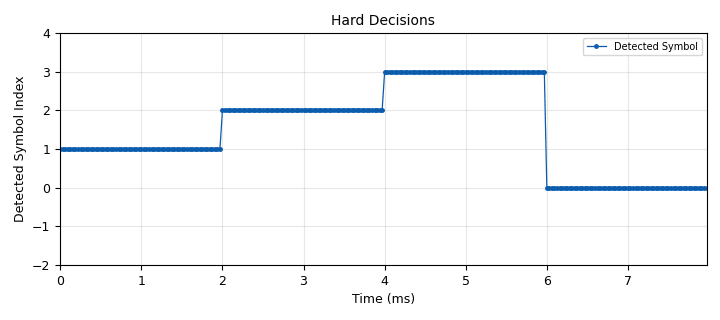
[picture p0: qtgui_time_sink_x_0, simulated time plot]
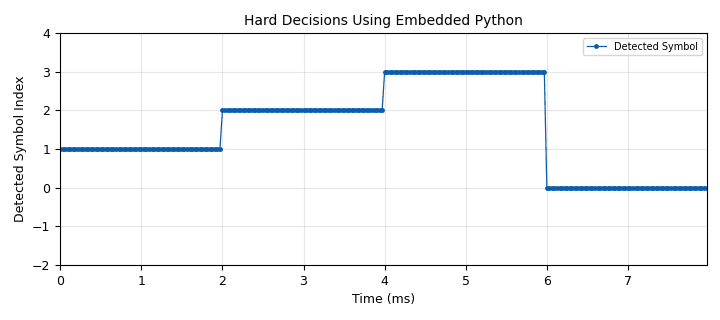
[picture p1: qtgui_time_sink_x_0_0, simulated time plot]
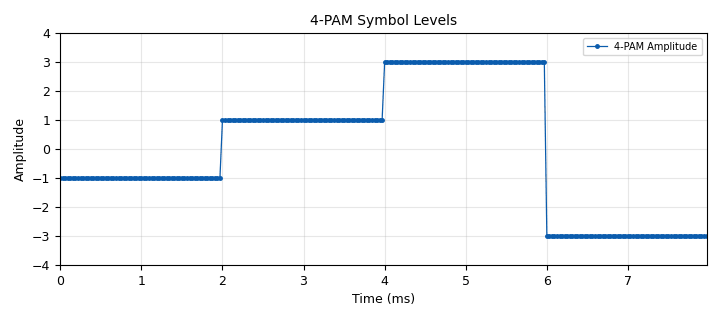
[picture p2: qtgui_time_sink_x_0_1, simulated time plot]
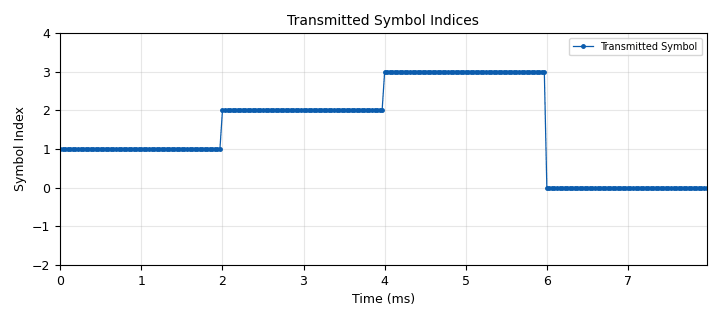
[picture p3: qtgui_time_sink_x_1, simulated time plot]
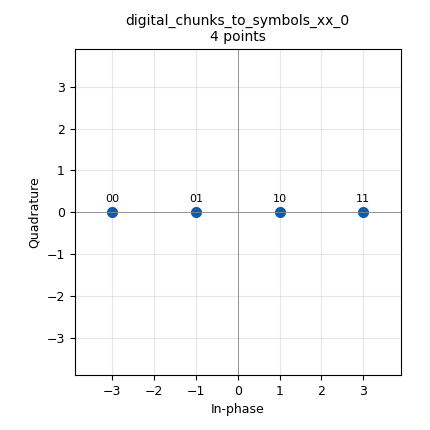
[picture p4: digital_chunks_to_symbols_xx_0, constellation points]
options:
  parameters:
    author: Dhrubjun
    generate_options: qt_gui
    id: exp5
    output_language: python
    title: Hard Decisions in 4-PAM
  states: {}

blocks:
- name: bit_rate
  id: variable
  parameters:
    value: '1000'
  states: {}
- name: bits_per_symbol
  id: variable
  parameters:
    value: '2'
  states: {}
- name: samp_rate
  id: variable
  parameters:
    value: '32000'
  states: {}
- name: samples_per_symbol
  id: variable
  parameters:
    value: int(samp_rate / symbol_rate)
  states: {}
- name: symbol_rate
  id: variable
  parameters:
    value: bit_rate / bits_per_symbol
  states: {}
- name: blocks_add_const_vxx_0
  id: blocks_add_const_vxx
  parameters:
    const: '2'
    type: float
  states: {}
- name: blocks_add_const_vxx_0_0
  id: blocks_add_const_vxx
  parameters:
    const: '-2'
    type: float
  states: {}
- name: blocks_add_xx_0
  id: blocks_add_xx
  parameters:
    num_inputs: '3'
    type: float
  states: {}
- name: blocks_repack_bits_bb_0_0
  id: blocks_repack_bits_bb
  parameters:
    endianness: gr.GR_MSB_FIRST
    k: '1'
    l: '2'
  states: {}
- name: blocks_repeat_0_0
  id: blocks_repeat
  parameters:
    interp: samples_per_symbol
    type: float
  states: {}
- name: blocks_repeat_0_0_0
  id: blocks_repeat
  parameters:
    interp: samples_per_symbol
    type: float
  states: {}
- name: blocks_repeat_0_0_1
  id: blocks_repeat
  parameters:
    interp: samples_per_symbol
    type: float
  states: {}
- name: blocks_repeat_0_0_1_0
  id: blocks_repeat
  parameters:
    interp: samples_per_symbol
    type: float
  states: {}
- name: blocks_throttle2_0
  id: blocks_throttle2
  parameters:
    samples_per_second: samp_rate
    type: byte
  states: {}
- name: blocks_uchar_to_float_0_0
  id: blocks_uchar_to_float
  parameters: {}
  states: {}
- name: blocks_uchar_to_float_0_0_0
  id: blocks_uchar_to_float
  parameters: {}
  states: {}
- name: blocks_uchar_to_float_0_0_0_0
  id: blocks_uchar_to_float
  parameters: {}
  states: {}
- name: blocks_uchar_to_float_0_0_0_1
  id: blocks_uchar_to_float
  parameters: {}
  states: {}
- name: blocks_uchar_to_float_0_0_1
  id: blocks_uchar_to_float
  parameters: {}
  states: {}
- name: blocks_vector_source_x_0
  id: blocks_vector_source_x
  parameters:
    repeat: 'True'
    type: byte
    vector: (0,0,0,1,1,0,1,1)
  states: {}
- name: digital_binary_slicer_fb_0
  id: digital_binary_slicer_fb
  parameters: {}
  states: {}
- name: digital_binary_slicer_fb_0_0
  id: digital_binary_slicer_fb
  parameters: {}
  states: {}
- name: digital_binary_slicer_fb_0_1
  id: digital_binary_slicer_fb
  parameters: {}
  states: {}
- name: digital_chunks_to_symbols_xx_0
  id: digital_chunks_to_symbols_xx
  parameters:
    dimension: '1'
    in_type: byte
    out_type: float
    symbol_table: '[-3, -1, 1, 3]'
  states: {}
- name: epy_block_0
  id: epy_block
  parameters:
    _source_code: |-
      import numpy as np
      from gnuradio import gr


      class blk(gr.sync_block):

          def __init__(self):
              gr.sync_block.__init__(
                  self,
                  name='4-PAM Hard Decision',
                  in_sig=[np.float32],
                  out_sig=[np.uint8]
              )

          def work(self, input_items, output_items):
              x = input_items[0]
              y = output_items[0]

              n = min(len(x), len(y))

              for i in range(n):
                  if x[i] < -2:
                      y[i] = 0
                  elif x[i] < 0:
                      y[i] = 1
                  elif x[i] < 2:
                      y[i] = 2
                  else:
                      y[i] = 3

              return n
  states: {}
- name: qtgui_time_sink_x_0
  id: qtgui_time_sink_x
  parameters:
    grid: 'True'
    gui_hint: (1,0,1,1)
    label1: Detected Symbol
    marker1: '0'
    name: Hard Decisions
    size: '256'
    srate: samp_rate
    style1: '2'
    type: float
    update_time: '2'
    ylabel: Detected Symbol Index
    ymax: '4'
    ymin: '-2'
  states: {}
- name: qtgui_time_sink_x_0_0
  id: qtgui_time_sink_x
  parameters:
    grid: 'True'
    gui_hint: (1,1,1,1)
    label1: Detected Symbol
    marker1: '0'
    name: Hard Decisions Using Embedded Python
    size: '256'
    srate: samp_rate
    style1: '2'
    type: float
    update_time: '2'
    ylabel: Detected Symbol Index
    ymax: '4'
    ymin: '-2'
  states: {}
- name: qtgui_time_sink_x_0_1
  id: qtgui_time_sink_x
  parameters:
    grid: 'True'
    gui_hint: (0,1,1,1)
    label1: 4-PAM Amplitude
    marker1: '0'
    name: 4-PAM Symbol Levels
    size: '256'
    srate: samp_rate
    style1: '2'
    type: float
    update_time: '2'
    width1: '2'
    ymax: '4'
    ymin: '-4'
  states: {}
- name: qtgui_time_sink_x_1
  id: qtgui_time_sink_x
  parameters:
    grid: 'True'
    gui_hint: (0,0,1,1)
    label1: Transmitted Symbol
    marker1: '0'
    name: Transmitted Symbol Indices
    size: '256'
    srate: samp_rate
    style1: '2'
    type: float
    ylabel: Symbol Index
    ymax: '4'
    ymin: '-2'
  states: {}

connections:
- [blocks_add_const_vxx_0, '0', digital_binary_slicer_fb_0, '0']
- [blocks_add_const_vxx_0_0, '0', digital_binary_slicer_fb_0_1, '0']
- [blocks_add_xx_0, '0', blocks_repeat_0_0_1, '0']
- [blocks_repack_bits_bb_0_0, '0', blocks_uchar_to_float_0_0_0_0, '0']
- [blocks_repack_bits_bb_0_0, '0', digital_chunks_to_symbols_xx_0, '0']
- [blocks_repeat_0_0, '0', qtgui_time_sink_x_1, '0']
- [blocks_repeat_0_0_0, '0', qtgui_time_sink_x_0_1, '0']
- [blocks_repeat_0_0_1, '0', qtgui_time_sink_x_0, '0']
- [blocks_repeat_0_0_1_0, '0', qtgui_time_sink_x_0_0, '0']
- [blocks_throttle2_0, '0', blocks_repack_bits_bb_0_0, '0']
- [blocks_uchar_to_float_0_0, '0', blocks_add_xx_0, '0']
- [blocks_uchar_to_float_0_0_0, '0', blocks_add_xx_0, '1']
- [blocks_uchar_to_float_0_0_0_0, '0', blocks_repeat_0_0, '0']
- [blocks_uchar_to_float_0_0_0_1, '0', blocks_repeat_0_0_1_0, '0']
- [blocks_uchar_to_float_0_0_1, '0', blocks_add_xx_0, '2']
- [blocks_vector_source_x_0, '0', blocks_throttle2_0, '0']
- [digital_binary_slicer_fb_0, '0', blocks_uchar_to_float_0_0, '0']
- [digital_binary_slicer_fb_0_0, '0', blocks_uchar_to_float_0_0_0, '0']
- [digital_binary_slicer_fb_0_1, '0', blocks_uchar_to_float_0_0_1, '0']
- [digital_chunks_to_symbols_xx_0, '0', blocks_add_const_vxx_0, '0']
- [digital_chunks_to_symbols_xx_0, '0', blocks_add_const_vxx_0_0, '0']
- [digital_chunks_to_symbols_xx_0, '0', blocks_repeat_0_0_0, '0']
- [digital_chunks_to_symbols_xx_0, '0', digital_binary_slicer_fb_0_0, '0']
- [digital_chunks_to_symbols_xx_0, '0', epy_block_0, '0']
- [epy_block_0, '0', blocks_uchar_to_float_0_0_0_1, '0']

metadata:
  file_format: 1
  grc_version: 3.10.12.0
